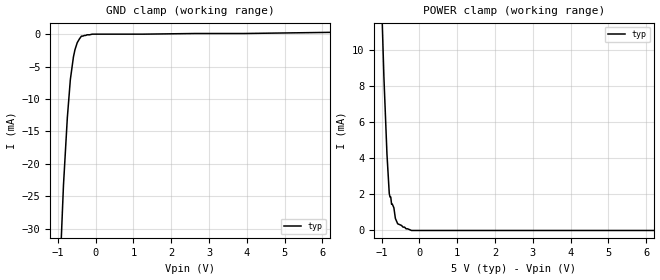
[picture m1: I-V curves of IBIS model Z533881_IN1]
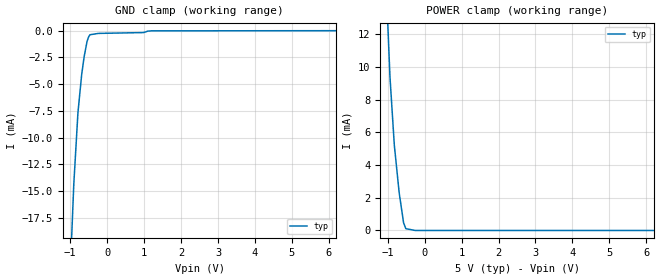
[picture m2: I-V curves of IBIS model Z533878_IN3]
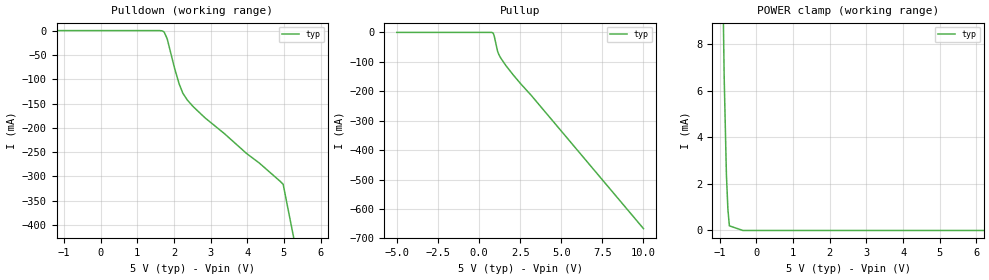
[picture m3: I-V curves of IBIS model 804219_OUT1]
| YOU ARE ONLY AUTHORIZED TO USE THIS SOFTWARE
| ACCORDING TO LICENSOR'S LICENSE RESTRICTIONS.
[IBIS Ver] 3.1
[File Name] mc100elt28d.ibs
[File Rev] 1.0
[Source] Derived from mc10elt21d.ibs Measured and created by ICX Technology
[Date] 10/07/2003
[Copyright]
| (C) COPYRIGHT 1993-2000
| MENTOR GRAPHICS CORPORATION
| ICX STANDARD LIBRARY, ICX PROJECT MODELING,
| ICX CUSTOM MODELING, ICX VENDOR MODEL
| ALL RIGHTS RESERVED.
| THE FOLLOWING ARE TRADEMARKS OR SERVICE MARKS OF
| MENTOR GRAPHICS CORPORATION:ICX (R), ICX STANDARD
| LIBRARY(R), ICX PROJECT MODELING(R), ICX CUSTOM
| MODELING(R), qualityIBIS(TM), MODELVIEWER(TM),
| AND MODELEDITOR(TM)
| ALL COPIES OF SOFTWARE, INCLUDING BUT NOT LIMITED TO
| ANY MODIFICATIONS, ENHANCEMENTS OR DERIVATIVE WORKS,
| MUST CONTAIN ALL MENTOR GRAPHICS CORPORATION'S
| NOTICES AND LEGENDS, INCLUDING THOSE EMBEDDED IN
| SOFTWARE AND THOSE AFFIXED TO SOFTWARE MEDIUM
| AND CONTAINER, AS RECEIVED FROM MENTOR GRAPHICS
| CORPORATION.
|  ZAP Model Builder 2.7
[Component] MC100ELT21D
[Manufacturer] On Semiconductor
[Package]
| variable   typ   min   max
R_pkg  .152ohms NA NA
L_pkg  2.714nH NA NA
C_pkg  .364pF NA NA
[Pin] signal_name  model_name  R_pin  L_pin C_pin
1 DECL Z533881_IN1 .15 2.504n .354p
2 _DECL Z533881_IN1 .15 2.504n .354p
3 QECL 804219_OUT1 .15 2.504n .354p
4 _QECL 804219_OUT1 .15 2.504n .354p
5 GND GND .154 2.924n .374p
6 DTTL Z533878_IN3 .15 2.504n .354p
7 QTTL Z503432_OUT3 .15 2.504n .354p
8 VCC POWER .154 2.924n .374p
[Diff Pin] inv_pin vdiff tdelay_typ tdelay_min tdelay_max
1 2 150mv NA NA NA
3 4 NA NA NA NA
| Models and submodels in the file (4): Z533881_IN1 (Input_ECL), Z533878_IN3 (Input), 804219_OUT1 (Output_ECL), Z503432_OUT3 (Output)
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| Model Application Version 1.89 2/18/99.
[Model] Z533881_IN1
Model_type Input_ECL
Vinl = 3.525V
Vinh = 3.835V
C_comp 2.000pF NA NA
| variable typ   min   max
[Voltage Range] 5.000V NA NA
[GND Clamp Reference] 0.000V NA NA
[POWER Clamp Reference] 5.000V NA NA
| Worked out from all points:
|   GND clamp passes 1 mA (typ) near -0.46 V on its own axis
|   POWER clamp passes 1 mA (typ) near -0.66 V on its own axis
[GND Clamp]
-5V       -790.1mA   NA         NA
-1.054V   -52.1mA    NA         NA
-851mV    -23.3mA    NA         NA
-749mV    -12.9mA    NA         NA
-669mV    -7mA       NA         NA
-587mV    -3.5mA     NA         NA
-547mV    -2.4mA     NA         NA
-486mV    -1.3mA     NA         NA
-374.5mV  -300uA     NA         NA
-91mV     0A         NA         NA
3.922V    100uA      NA         NA
10V       572.3uA    NA         NA
[POWER Clamp]
-5V       941mA      NA         NA
-1.02V    14.14mA    NA         NA
-939mV    8.543mA    NA         NA
-858mV    4.25mA     NA         NA
-797mV    2.054mA    NA         NA
-757mV    1.857mA    NA         NA
-736.5mV  1.461mA    NA         NA
-675mV    1.264mA    NA         NA
-635mV    666.9uA    NA         NA
-574mV    371.6uA    NA         NA
-351.5mV  92.07uA    NA         NA
10V       0A         NA         NA
| COPYRIGHT(C) MENTOR GRAPHICS CORPORATION 2001 ALL
| RIGHTS RESERVED. THIS WORK CONTAINS PROPRIETARY
| INFORMATION WHICH IS THE PROPERTY OF MENTOR GRAPHICS
| CORPORATION OR ITS LICENSORS. USE OF THESE MATERIALS
| IS SUBJECT TO THE TERMS BELOW.
| USE: MENTOR GRAPHICS HAS LICENSED IBIS MODELS TO
| SPECIFIC INTEGRATED CIRCUIT SUPPLIERS ("IC VENDORS")
| FOR USE AND DISTRIBUTION AS FOLLOWS: EACH IC VENDOR
| MAY USE IBIS MODELS, AND DISTRIBUTE THEM TO IC VENDOR'S
| CUSTOMERS TO USE, SOLELY FOR DEVELOPING PRINTED
| CIRCUIT BOARD DESIGNS. NO OTHER USE OR DISTRIBUTION
| OF THESE MATERIALS IS PERMITTED.
| Model Application Version 1.89 2/18/99.
[Model] Z533878_IN3
Model_type Input
Vinl = 800.0mV
Vinh = 2.000V
C_comp 2.000pF NA NA
| variable typ   min   max
[Voltage Range] 5.000V NA NA
[GND Clamp Reference] 0.000V NA NA
[POWER Clamp Reference] 5.000V NA NA
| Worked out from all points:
|   GND clamp passes 1 mA (typ) near -0.54 V on its own axis
|   POWER clamp passes 1 mA (typ) near -0.60 V on its own axis
[GND Clamp]
-5V       -367.1mA   NA         NA
-902.2mV  -14.37mA   NA         NA
-790.2mV  -7.689mA   NA         NA
-688.6mV  -4.099mA   NA         NA
-622.9mV  -2.45mA    NA         NA
-541.8mV  -976.5uA   NA         NA
-502.2mV  -592.4uA   NA         NA
-463.9mV  -374.8uA   NA         NA
-231.9mV  -250.8uA   NA         NA
989.8mV   -172.9uA   NA         NA
1.207V    -11.63uA   NA         NA
10V       13.49uA    NA         NA
[POWER Clamp]
-5V       339mA      NA         NA
-1.054V   15.76mA    NA         NA
-938mV    9.414mA    NA         NA
-820mV    5.22mA     NA         NA
-688mV    2.297mA    NA         NA
-570mV    477.5uA    NA         NA
-509mV    110.8uA    NA         NA
-254.5mV  0A         NA         NA
10V       0A         NA         NA
| COPYRIGHT(C) MENTOR GRAPHICS CORPORATION 2001 ALL
| RIGHTS RESERVED. THIS WORK CONTAINS PROPRIETARY
| INFORMATION WHICH IS THE PROPERTY OF MENTOR GRAPHICS
| CORPORATION OR ITS LICENSORS. USE OF THESE MATERIALS
| IS SUBJECT TO THE TERMS BELOW.
| USE: MENTOR GRAPHICS HAS LICENSED IBIS MODELS TO
| SPECIFIC INTEGRATED CIRCUIT SUPPLIERS ("IC VENDORS")
| FOR USE AND DISTRIBUTION AS FOLLOWS: EACH IC VENDOR
| MAY USE IBIS MODELS, AND DISTRIBUTE THEM TO IC VENDOR'S
| CUSTOMERS TO USE, SOLELY FOR DEVELOPING PRINTED
| CIRCUIT BOARD DESIGNS. NO OTHER USE OR DISTRIBUTION
| OF THESE MATERIALS IS PERMITTED.
| Model Application Version 1.89 2/18/99.
[Model] 804219_OUT1
Model_type Output_ECL
Vref=3.000V
Rref=50.00ohms
Cref=0.000F
Vmeas=3.550V
C_comp 2.00pF NA NA
| variable typ   min   max
[Voltage Range] 5.000V NA NA
[POWER Clamp Reference] 5.000V NA NA
[Pullup Reference] 5.000V NA NA
[Pulldown Reference] 5.000V NA NA
[GND Clamp Reference] 0.000V NA NA
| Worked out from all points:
|   POWER clamp passes 1 mA (typ) near -0.78 V on its own axis
[GND Clamp]
-5V       0A         NA         NA
10V       0A         NA         NA
[Pulldown]
-5V       0A         NA         NA
1.696V    -1mA       NA         NA
1.737V    -3.3mA     NA         NA
1.818V    -17.1mA    NA         NA
2.02V     -77.8mA    NA         NA
2.142V    -109.3mA   NA         NA
2.243V    -128.6mA   NA         NA
2.365V    -142.7mA   NA         NA
2.851V    -179.6mA   NA         NA
4.331V    -272.5mA   NA         NA
4.98V     -316.2mA   NA         NA
10V       -2.236A    NA         NA
[Pullup]
-5V       0A         NA         NA
845mV     -2mA       NA         NA
926mV     -12.7mA    NA         NA
1.129V    -64.4mA    NA         NA
1.21V     -75.9mA    NA         NA
1.635V    -112.9mA   NA         NA
2.101V    -146mA     NA         NA
3.176V    -214.1mA   NA         NA
10V       -666.9mA   NA         NA
[POWER Clamp]
-5V       895.7mA    NA         NA
-1.121V   38.5mA     NA         NA
-1.02V    22.5mA     NA         NA
-878mV    6.6mA      NA         NA
-817mV    2.4mA      NA         NA
-776mV    900uA      NA         NA
-736mV    200uA      NA         NA
-368mV    0A         NA         NA
10V       0A         NA         NA
[Ramp]
| variable typ min max
dV/dt_r 311.1m/172.3p NA NA
dV/dt_f 311.1m/102.7p NA NA
R_load = 50.00Ohms
